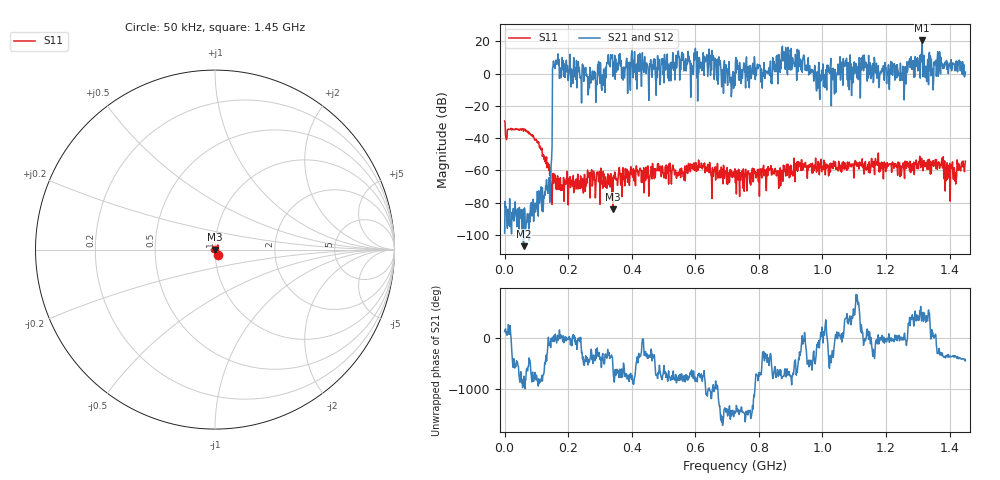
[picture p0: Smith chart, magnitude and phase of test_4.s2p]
! Created with skrf 1.11.0 (http://scikit-rf.org).
# Hz S RI R 50.0
!freq ReS11 ImS11 ReS21 ImS21 ReS12 ImS12 ReS22 ImS22
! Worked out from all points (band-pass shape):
!   1001 points, 50 kHz to 1.45 GHz, reference 50 ohm
!   highest |S21| = 20.55 dB at 1.314 GHz (marker M1); lowest = -107.0 dB at 59.5 MHz (marker M2)
!   |S21| within 3 dB of the highest: 1.313147 GHz to 1.314187 GHz (1.04 MHz wide, 0.0792 % of centre)
!   lowest |S11| = -84.3 dB at 340.8 MHz (marker M3), VSWR 1.00, Z = 50 + j0.0006 ohm
!   |S11| at or under -10 dB: start of sweep to end of sweep
!   |S22| runs from - to - dB; largest |S21 - S12| = 0
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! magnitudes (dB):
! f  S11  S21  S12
! 50 kHz  -29.4  -98.9  -98.9
! 59.5 MHz  -35.7  -107.0  -107.0
! 105.9 MHz  -42.9  -88.4  -88.4
! 140.7 MHz  -56.6  -64.4  -64.4
! 158.1 MHz  -67.0  3.1  3.1
! 242.2 MHz  -70.1  -18.2  -18.2
! 311.8 MHz  -64.6  2.8  2.8
! 340.8 MHz  -84.3  -1.7  -1.7
! 484.3 MHz  -55.9  7.5  7.5
! 551 MHz  -62.6  -4.0  -4.0
! 651.1 MHz  -63.4  2.4  2.4
! 717.8 MHz  -62.6  -1.7  -1.7
! 725 MHz  -59.1  -7.4  -7.4
! 835.2 MHz  -59.4  3.8  3.8
! 878.7 MHz  -58.6  13.4  13.4
! 967.2 MHz  -61.7  1.0  1.0
! 1.035 GHz  -54.2  -2.7  -2.7
! 1.131 GHz  -62.3  11.5  11.5
! 1.209 GHz  -56.7  -4.3  -4.3
! 1.314 GHz  -55.4  20.5  20.5
! 1.395 GHz  -56.8  3.2  3.2
! 1.45 GHz  -54.3  1.0  1.0
